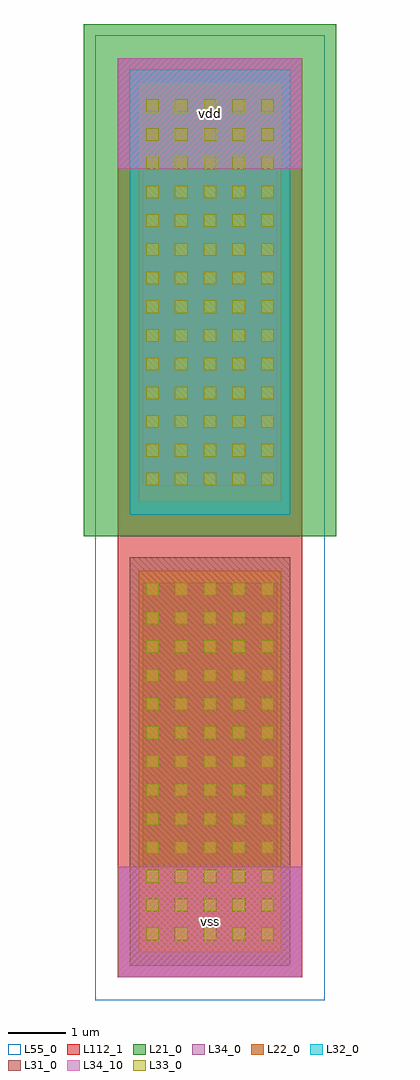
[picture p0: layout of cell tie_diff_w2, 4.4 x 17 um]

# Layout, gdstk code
import gdstk
lib = gdstk.Library(unit=1e-6, precision=1e-09)
def R(c, l, rs):  # rectangles x0, y0, x1, y1
    for r in rs: c.add(gdstk.rectangle(r[:2], r[2:], *l))
def A(c, l, x, y, w, h, nx, ny, dx, dy):  # array of equal rectangles
    R(c, l, [(x+i*dx, y+j*dy, x+i*dx+w, y+j*dy+h) for i in range(nx) for j in range(ny)])
def P(c, l, *ps):  # polygons
    for p in ps: c.add(gdstk.Polygon(p, *l))
L21_0 = (21, 0)
L22_0 = (22, 0)
L31_0 = (31, 0)
L32_0 = (32, 0)
L33_0 = (33, 0)
L34_0 = (34, 0)
L34_10 = (34, 10)
L55_0 = (55, 0)
L112_1 = (112, 1)

tie_diff_w2 = lib.new_cell('tie_diff_w2')
R(tie_diff_w2, L21_0, [(-0.6,7.68,3.8,16.6)])
R(tie_diff_w2, L22_0, [(0.36,0.43,2.84,7.08), (0.36,8.28,2.84,15.57)])
R(tie_diff_w2, L31_0, [(0.2,0.2,3,7.31)])
R(tie_diff_w2, L32_0, [(0.2,8.05,3,15.8)])
A(tie_diff_w2, L33_0, 0.49, 0.645, 0.22, 0.22, 5, 13, 0.5, 0.5)
A(tie_diff_w2, L33_0, 0.49, 8.565, 0.22, 0.22, 5, 14, 0.5, 0.5)
P(tie_diff_w2, L34_0, [(0.43,8.56),(0.43,14.08),(0,14.08),(0,16),(3.2,16),(3.2,14.08),(2.77,14.08),(2.77,8.56)],
  [(0,0),(0,1.92),(0.43,1.92),(0.43,6.87),(2.77,6.87),(2.77,1.92),(3.2,1.92),(3.2,0)])
R(tie_diff_w2, L34_10, [(0,0,3.2,1.92), (0,14.08,3.2,16)])
R(tie_diff_w2, L55_0, [(-0.4,-0.4,3.6,16.4)])
R(tie_diff_w2, L112_1, [(-0.005,-0.005,3.205,16.005)])
tie_diff_w2.add(gdstk.Label('vdd', (1.6,15.04), layer=34, texttype=10))
tie_diff_w2.add(gdstk.Label('vss', (1.6,0.96), layer=34, texttype=10))

lib.write_gds('tie_diff_w2.gds')
